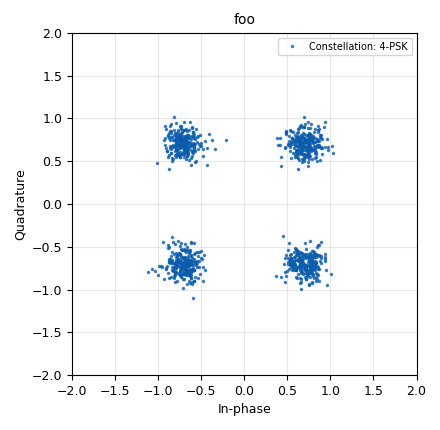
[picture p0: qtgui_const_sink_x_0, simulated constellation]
<?xml version='1.0' encoding='utf-8'?>
<?grc format='1' created='3.7.12'?>
<flow_graph>
<block>
<key>options</key>
<param><key>id</key><value>top_block</value></param>
<param><key>generate_options</key><value>qt_gui</value></param>
</block>
<block>
<key>variable_qtgui_range</key>
<param><key>id</key><value>EbN0</value></param>
<param><key>value</key><value>10</value></param>
<param><key>label</key><value>Eb / N0 (dB)</value></param>
<param><key>orient</key><value>Qt.Horizontal</value></param>
<param><key>start</key><value>-10</value></param>
<param><key>step</key><value>1</value></param>
<param><key>stop</key><value>200</value></param>
</block>
<block>
<key>variable</key>
<param><key>id</key><value>arrity</value></param>
<param><key>value</key><value>pow(2, bits_per_symbol)</value></param>
</block>
<block>
<key>variable</key>
<param><key>id</key><value>bits_per_symbol</value></param>
<param><key>value</key><value>int(const_type+1)</value></param>
</block>
<block>
<key>variable</key>
<param><key>id</key><value>const</value></param>
<param><key>value</key><value>(digital.constellation_bpsk(), digital.constellation_qpsk(), digital.constellation_8psk())</value></param>
</block>
<block>
<key>variable</key>
<param><key>id</key><value>const_type</value></param>
<param><key>value</key><value>1</value></param>
</block>
<block>
<key>variable</key>
<param><key>id</key><value>phase_bw</value></param>
<param><key>_enabled</key><value>0</value></param>
<param><key>value</key><value>2*math.pi/100.0</value></param>
</block>
<block>
<key>variable</key>
<param><key>id</key><value>samp_rate</value></param>
<param><key>value</key><value>32000</value></param>
</block>
<block>
<key>variable_qtgui_label</key>
<param><key>id</key><value>variable_qtgui_label_0</value></param>
<param><key>value</key><value>{0: 'BPSK', 1: 'QPSK', 2: '8-PSK'}[const_type] + " - Change const_type for different constellation types!"</value></param>
<param><key>label</key><value>Constellation Type</value></param>
<param><key>type</key><value>string</value></param>
</block>
<block>
<key>qtgui_number_sink</key>
<param><key>id</key><value>MeasureBER</value></param>
<param><key>graph_type</key><value>qtgui.NUM_GRAPH_HORIZ</value></param>
<param><key>type</key><value>float</value></param>
<param><key>color1</key><value>("blue", "red")</value></param>
<param><key>min</key><value>0</value></param>
<param><key>name</key><value>"BER"</value></param>
<param><key>update_time</key><value>0.05</value></param>
</block>
<block>
<key>analog_noise_source_x</key>
<param><key>id</key><value>analog_noise_source_x</value></param>
<param><key>amp</key><value>1.0 / math.sqrt(2.0 * const[const_type].bits_per_symbol() * 10**(EbN0/10))</value></param>
<param><key>noise_type</key><value>analog.GR_GAUSSIAN</value></param>
<param><key>type</key><value>complex</value></param>
<param><key>seed</key><value>42</value></param>
</block>
<block>
<key>blks2_error_rate</key>
<param><key>id</key><value>blks2_error_rate</value></param>
<param><key>bits_per_symbol</key><value>1</value></param>
<param><key>type</key><value>'BER'</value></param>
<param><key>win_size</key><value>1000</value></param>
</block>
<block>
<key>blocks_add_xx</key>
<param><key>id</key><value>blocks_add_xx</value></param>
<param><key>type</key><value>complex</value></param>
</block>
<block>
<key>blocks_pack_k_bits_bb</key>
<param><key>id</key><value>blocks_pack_k_bits_bb_0</value></param>
<param><key>k</key><value>bits_per_symbol</value></param>
</block>
<block>
<key>blocks_throttle</key>
<param><key>id</key><value>blocks_throttle</value></param>
<param><key>samples_per_second</key><value>samp_rate</value></param>
<param><key>type</key><value>byte</value></param>
</block>
<block>
<key>blocks_unpack_k_bits_bb</key>
<param><key>id</key><value>blocks_unpack_k_bits_bb_0</value></param>
<param><key>k</key><value>bits_per_symbol</value></param>
</block>
<block>
<key>blocks_vector_source_x</key>
<param><key>id</key><value>blocks_vector_source_x_0</value></param>
<param><key>type</key><value>byte</value></param>
<param><key>repeat</key><value>True</value></param>
<param><key>vector</key><value>(1,)</value></param>
</block>
<block>
<key>blocks_vector_source_x</key>
<param><key>id</key><value>blocks_vector_source_x_0_0</value></param>
<param><key>type</key><value>byte</value></param>
<param><key>repeat</key><value>True</value></param>
<param><key>vector</key><value>(1,)</value></param>
</block>
<block>
<key>digital_chunks_to_symbols_xx</key>
<param><key>id</key><value>digital_chunks_to_symbols_xx_1</value></param>
<param><key>dimension</key><value>1</value></param>
<param><key>in_type</key><value>byte</value></param>
<param><key>out_type</key><value>complex</value></param>
<param><key>symbol_table</key><value>const[const_type].points()</value></param>
</block>
<block>
<key>digital_constellation_decoder_cb</key>
<param><key>id</key><value>digital_constellation_decoder_cb_0_0</value></param>
<param><key>constellation</key><value>const[const_type].base()</value></param>
</block>
<block>
<key>digital_constellation_receiver_cb</key>
<param><key>id</key><value>digital_constellation_receiver_cb_0</value></param>
<param><key>constellation</key><value>const[const_type].base()</value></param>
<param><key>_enabled</key><value>0</value></param>
<param><key>loop_bw</key><value>phase_bw</value></param>
<param><key>fmax</key><value>0.25</value></param>
<param><key>fmin</key><value>0.25</value></param>
<param><key>showports</key><value>True</value></param>
</block>
<block>
<key>digital_descrambler_bb</key>
<param><key>id</key><value>digital_descrambler_bb_0</value></param>
<param><key>len</key><value>7</value></param>
<param><key>mask</key><value>0x8A</value></param>
<param><key>seed</key><value>0x7F</value></param>
</block>
<block>
<key>digital_diff_decoder_bb</key>
<param><key>id</key><value>digital_diff_decoder_bb_0</value></param>
<param><key>modulus</key><value>arrity</value></param>
</block>
<block>
<key>digital_diff_encoder_bb</key>
<param><key>id</key><value>digital_diff_encoder_bb_0</value></param>
<param><key>modulus</key><value>arrity</value></param>
</block>
<block>
<key>digital_scrambler_bb</key>
<param><key>id</key><value>digital_scrambler_bb_0</value></param>
<param><key>len</key><value>7</value></param>
<param><key>mask</key><value>0x8A</value></param>
<param><key>seed</key><value>0x7F</value></param>
</block>
<block>
<key>import</key>
<param><key>id</key><value>import</value></param>
<param><key>import</key><value>import math</value></param>
</block>
<block>
<key>qtgui_const_sink_x</key>
<param><key>id</key><value>qtgui_const_sink_x_0</value></param>
<param><key>gui_hint</key><value>2,0,1,1</value></param>
<param><key>alpha1</key><value>0.6</value></param>
<param><key>label1</key><value>"Constellation: "+str(const[const_type].arity()) + "-PSK"</value></param>
<param><key>name</key><value>"foo"</value></param>
<param><key>size</key><value>1024</value></param>
<param><key>type</key><value>complex</value></param>
</block>
<block>
<key>qtgui_number_sink</key>
<param><key>id</key><value>qtgui_number_sink_0</value></param>
<param><key>autoscale</key><value>True</value></param>
<param><key>_enabled</key><value>0</value></param>
<param><key>gui_hint</key><value>1,0,1,1</value></param>
<param><key>graph_type</key><value>qtgui.NUM_GRAPH_HORIZ</value></param>
<param><key>type</key><value>float</value></param>
<param><key>factor1</key><value></value></param>
<param><key>label1</key><value>BER</value></param>
<param><key>min</key><value>0</value></param>
</block>
<connection><source_block_id>analog_noise_source_x</source_block_id><sink_block_id>blocks_add_xx</sink_block_id><source_key>0</source_key><sink_key>1</sink_key></connection>
<connection><source_block_id>blks2_error_rate</source_block_id><sink_block_id>MeasureBER</sink_block_id><source_key>0</source_key><sink_key>0</sink_key></connection>
<connection><source_block_id>blks2_error_rate</source_block_id><sink_block_id>qtgui_number_sink_0</sink_block_id><source_key>0</source_key><sink_key>0</sink_key></connection>
<connection><source_block_id>blocks_add_xx</source_block_id><sink_block_id>digital_constellation_decoder_cb_0_0</sink_block_id><source_key>0</source_key><sink_key>0</sink_key></connection>
<connection><source_block_id>blocks_add_xx</source_block_id><sink_block_id>digital_constellation_receiver_cb_0</sink_block_id><source_key>0</source_key><sink_key>0</sink_key></connection>
<connection><source_block_id>blocks_add_xx</source_block_id><sink_block_id>qtgui_const_sink_x_0</sink_block_id><source_key>0</source_key><sink_key>0</sink_key></connection>
<connection><source_block_id>blocks_pack_k_bits_bb_0</source_block_id><sink_block_id>digital_diff_encoder_bb_0</sink_block_id><source_key>0</source_key><sink_key>0</sink_key></connection>
<connection><source_block_id>blocks_throttle</source_block_id><sink_block_id>digital_scrambler_bb_0</sink_block_id><source_key>0</source_key><sink_key>0</sink_key></connection>
<connection><source_block_id>blocks_unpack_k_bits_bb_0</source_block_id><sink_block_id>digital_descrambler_bb_0</sink_block_id><source_key>0</source_key><sink_key>0</sink_key></connection>
<connection><source_block_id>blocks_vector_source_x_0</source_block_id><sink_block_id>blocks_throttle</sink_block_id><source_key>0</source_key><sink_key>0</sink_key></connection>
<connection><source_block_id>blocks_vector_source_x_0_0</source_block_id><sink_block_id>blks2_error_rate</sink_block_id><source_key>0</source_key><sink_key>0</sink_key></connection>
<connection><source_block_id>digital_chunks_to_symbols_xx_1</source_block_id><sink_block_id>blocks_add_xx</sink_block_id><source_key>0</source_key><sink_key>0</sink_key></connection>
<connection><source_block_id>digital_constellation_decoder_cb_0_0</source_block_id><sink_block_id>digital_diff_decoder_bb_0</sink_block_id><source_key>0</source_key><sink_key>0</sink_key></connection>
<connection><source_block_id>digital_constellation_receiver_cb_0</source_block_id><sink_block_id>digital_diff_decoder_bb_0</sink_block_id><source_key>0</source_key><sink_key>0</sink_key></connection>
<connection><source_block_id>digital_descrambler_bb_0</source_block_id><sink_block_id>blks2_error_rate</sink_block_id><source_key>0</source_key><sink_key>1</sink_key></connection>
<connection><source_block_id>digital_diff_decoder_bb_0</source_block_id><sink_block_id>blocks_unpack_k_bits_bb_0</sink_block_id><source_key>0</source_key><sink_key>0</sink_key></connection>
<connection><source_block_id>digital_diff_encoder_bb_0</source_block_id><sink_block_id>digital_chunks_to_symbols_xx_1</sink_block_id><source_key>0</source_key><sink_key>0</sink_key></connection>
<connection><source_block_id>digital_scrambler_bb_0</source_block_id><sink_block_id>blocks_pack_k_bits_bb_0</sink_block_id><source_key>0</source_key><sink_key>0</sink_key></connection>
</flow_graph>
